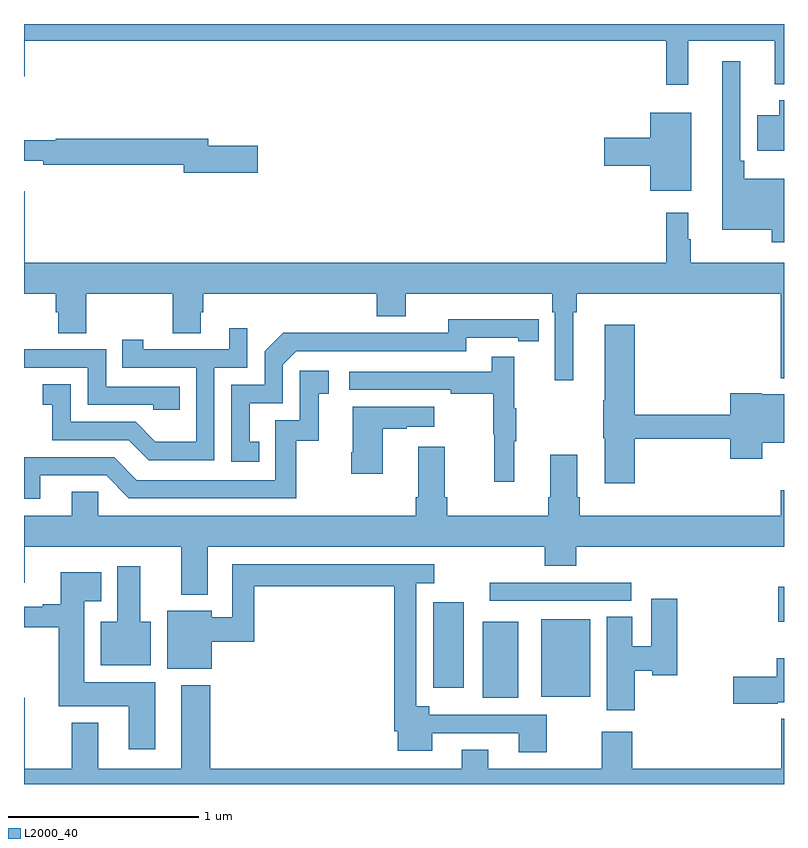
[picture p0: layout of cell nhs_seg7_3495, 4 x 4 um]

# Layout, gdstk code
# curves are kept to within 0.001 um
import gdstk
lib = gdstk.Library(unit=1e-6, precision=1e-09)
def R(c, l, rs):  # rectangles x0, y0, x1, y1
    for r in rs: c.add(gdstk.rectangle(r[:2], r[2:], *l))
def P(c, l, *ps):  # polygons
    for p in ps: c.add(gdstk.Polygon(p, *l))
L2000_40 = (2000, 40)

nhs_seg7_3495 = lib.new_cell('nhs_seg7_3495')
R(nhs_seg7_3495, L2000_40, [(335.414,1034.453,335.602,1034.854), (335.723,1034.459,335.98,1034.866), (335.153,1034.507,335.314,1034.956), (336.971,1034.855,337,1035.037), (335.451,1034.964,336.196,1035.06)])
P(nhs_seg7_3495, L2000_40, [(333,1037.724),(333.004,1037.724),(333.004,1037.912),(336.379,1037.912),(336.379,1037.679),(336.497,1037.679),(336.497,1037.912),(336.95,1037.912),(336.95,1037.684),(337,1037.684),(337,1038),(333,1038)],
  [(337,1037.185),(336.791,1037.185),(336.791,1037.281),(336.771,1037.281),(336.771,1037.803),(336.674,1037.803),(336.674,1036.916),(336.936,1036.916),(336.936,1036.851),(337,1036.851)],
  [(337,1037.599),(336.974,1037.599),(336.974,1037.521),(336.86,1037.521),(336.86,1037.333),(337,1037.333)],
  [(336.511,1037.533),(336.296,1037.533),(336.296,1037.402),(336.054,1037.402),(336.054,1037.255),(336.296,1037.255),(336.296,1037.123),(336.511,1037.123)],
  [(334.231,1037.36),(333.97,1037.36),(333.97,1037.396),(333.166,1037.396),(333.166,1037.389),(333,1037.389),(333,1037.279),(333.1,1037.279),(333.1,1037.26),(333.842,1037.26),(333.842,1037.218),(334.231,1037.218)],
  [(335.89,1036.484),(335.909,1036.484),(335.909,1036.58),(336.984,1036.58),(336.984,1036.136),(337,1036.136),(337,1036.744),(336.508,1036.744),(336.508,1036.868),(336.496,1036.868),(336.496,1037.007),(336.379,1037.007),(336.379,1036.744),(333.004,1036.744),(333.004,1037.119),(333,1037.119),(333,1036.58),(333.167,1036.58),(333.167,1036.482),(333.179,1036.482),(333.179,1036.372),(333.327,1036.372),(333.327,1036.58),(333.784,1036.58),(333.784,1036.372),(333.931,1036.372),(333.931,1036.482),(333.944,1036.482),(333.944,1036.58),(334.856,1036.58),(334.856,1036.463),(335.008,1036.463),(335.008,1036.58),(335.78,1036.58),(335.78,1036.484),(335.793,1036.484),(335.793,1036.125),(335.89,1036.125)],
  [(334.238,1035.801),(334.189,1035.801),(334.189,1036.005),(334.362,1036.005),(334.362,1036.206),(334.434,1036.278),(335.328,1036.278),(335.328,1036.35),(335.6,1036.35),(335.6,1036.33),(335.708,1036.33),(335.708,1036.446),(335.232,1036.447),(335.232,1036.374),(334.772,1036.374),(334.772,1036.376),(334.364,1036.376),(334.266,1036.278),(334.266,1036.101),(334.092,1036.101),(334.092,1035.696),(334.238,1035.696)],
  [(336.215,1035.816),(336.716,1035.816),(336.716,1035.713),(336.886,1035.713),(336.886,1035.797),(337,1035.797),(337,1036.051),(336.882,1036.051),(336.882,1036.057),(336.716,1036.057),(336.716,1035.944),(336.215,1035.944),(336.215,1036.417),(336.056,1036.417),(336.056,1036.021),(336.049,1036.021),(336.049,1035.821),(336.056,1035.821),(336.056,1035.582),(336.215,1035.582)],
  [(334.002,1036.191),(334.176,1036.191),(334.176,1036.399),(334.079,1036.399),(334.079,1036.287),(333.628,1036.287),(333.628,1036.339),(333.517,1036.339),(333.517,1036.191),(333.906,1036.191),(333.906,1035.802),(333.692,1035.802),(333.588,1035.906),(333.246,1035.906),(333.246,1036.105),(333.099,1036.105),(333.099,1035.995),(333.148,1035.995),(333.148,1035.81),(333.551,1035.81),(333.656,1035.705),(334.002,1035.705)],
  [(333.821,1036.092),(333.432,1036.092),(333.432,1036.287),(333,1036.287),(333,1036.191),(333.336,1036.191),(333.336,1035.996),(333.681,1035.996),(333.681,1035.969),(333.821,1035.969)],
  [(335.579,1035.803),(335.59,1035.803),(335.59,1035.977),(335.579,1035.977),(335.579,1036.249),(335.461,1036.249),(335.461,1036.17),(334.713,1036.17),(334.713,1036.074),(335.245,1036.074),(335.245,1036.054),(335.469,1036.054),(335.469,1035.84),(335.476,1035.84),(335.476,1035.591),(335.579,1035.591)],
  [(333.085,1035.624),(333.432,1035.624),(333.552,1035.504),(334.432,1035.504),(334.432,1035.807),(334.55,1035.807),(334.55,1036.053),(334.603,1036.053),(334.603,1036.174),(334.452,1036.174),(334.452,1035.915),(334.323,1035.915),(334.323,1035.6),(333.594,1035.6),(333.474,1035.72),(333,1035.72),(333,1035.501),(333.085,1035.501)],
  [(334.888,1035.871),(335.015,1035.871),(335.015,1035.881),(335.158,1035.881),(335.158,1035.985),(334.73,1035.985),(334.73,1035.745),(334.723,1035.745),(334.723,1035.632),(334.888,1035.632)],
  [(333.967,1035.248),(335.741,1035.248),(335.741,1035.149),(335.906,1035.149),(335.906,1035.248),(337,1035.248),(337,1035.545),(336.984,1035.545),(336.984,1035.412),(335.924,1035.412),(335.924,1035.508),(335.911,1035.508),(335.911,1035.733),(335.771,1035.733),(335.771,1035.508),(335.759,1035.508),(335.759,1035.412),(335.228,1035.412),(335.228,1035.508),(335.215,1035.508),(335.215,1035.775),(335.075,1035.775),(335.075,1035.508),(335.063,1035.508),(335.063,1035.412),(333.39,1035.412),(333.39,1035.539),(333.251,1035.539),(333.251,1035.412),(333,1035.412),(333,1035.06),(333.004,1035.06),(333.004,1035.248),(333.827,1035.248),(333.827,1034.996),(333.967,1034.996)],
  [(335.751,1034.364),(335.134,1034.364),(335.134,1034.41),(335.064,1034.41),(335.064,1035.056),(335.158,1035.056),(335.158,1035.156),(334.095,1035.156),(334.095,1034.878),(333.988,1034.878),(333.988,1034.911),(333.755,1034.911),(333.755,1034.606),(333.988,1034.606),(333.988,1034.749),(334.211,1034.749),(334.211,1035.04),(334.948,1035.04),(334.948,1034.278),(334.967,1034.278),(334.967,1034.174),(335.149,1034.174),(335.149,1034.268),(335.603,1034.268),(335.603,1034.166),(335.751,1034.166)],
  [(333.667,1034.854),(333.613,1034.854),(333.613,1035.145),(333.491,1035.145),(333.491,1034.854),(333.404,1034.854),(333.404,1034.624),(333.667,1034.624)],
  [(333.691,1034.536),(333.316,1034.536),(333.316,1034.963),(333.406,1034.963),(333.406,1035.115),(333.194,1035.115),(333.194,1034.947),(333.098,1034.947),(333.098,1034.934),(333,1034.934),(333,1034.826),(333.182,1034.826),(333.182,1034.408),(333.551,1034.408),(333.551,1034.184),(333.691,1034.184)],
  [(336.215,1034.596),(336.306,1034.596),(336.306,1034.573),(336.437,1034.573),(336.437,1034.974),(336.302,1034.974),(336.302,1034.725),(336.202,1034.725),(336.202,1034.879),(336.068,1034.879),(336.068,1034.388),(336.215,1034.388)],
  [(336.966,1034.429),(337,1034.429),(337,1034.662),(336.962,1034.662),(336.962,1034.564),(336.732,1034.564),(336.732,1034.422),(336.966,1034.422)],
  [(337,1034.344),(336.986,1034.344),(336.986,1034.08),(336.2,1034.08),(336.2,1034.275),(336.04,1034.275),(336.04,1034.08),(335.443,1034.08),(335.443,1034.179),(335.303,1034.179),(335.303,1034.08),(333.98,1034.08),(333.98,1034.521),(333.827,1034.521),(333.827,1034.08),(333.391,1034.08),(333.391,1034.323),(333.251,1034.323),(333.251,1034.08),(333.004,1034.08),(333.004,1034.455),(333,1034.455),(333,1034),(337,1034)])

lib.write_gds('nhs_seg7_3495.gds')
